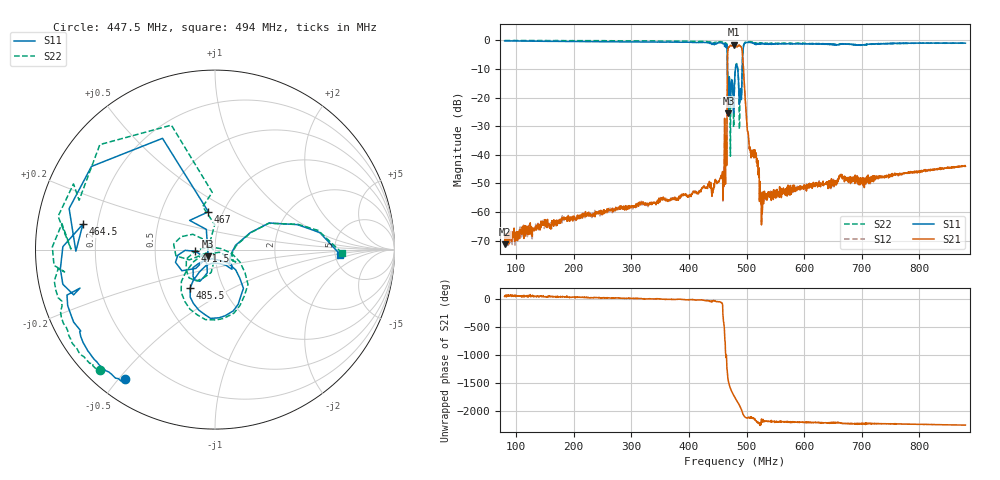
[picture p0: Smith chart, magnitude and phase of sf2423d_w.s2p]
# Hz S RI R 50
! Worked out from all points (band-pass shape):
!   1601 points, 80 MHz to 880 MHz, reference 50 ohm
!   highest |S21| = -1.49 dB at 478 MHz (marker M1); lowest = -71.3 dB at 80 MHz (marker M2)
!   |S21| within 3 dB of the highest: 467.3 MHz to 492.8 MHz (25.55 MHz wide, 5.32 % of centre)
!   lowest |S11| = -25.4 dB at 468.5 MHz (marker M3), VSWR 1.11, Z = 46.2 - j3.49 ohm
!   |S11| at or under -10 dB: 466.8 MHz to 480.8 MHz (13.94 MHz wide, 2.94 % of centre); 484.6 MHz to 492.4 MHz (7.782 MHz wide, 1.59 % of centre)
!   |S22| runs from -40.5 to 0.0 dB; largest |S21 - S12| = 0.0041
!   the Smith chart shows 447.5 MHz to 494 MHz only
!   S11 on the Smith chart (normalised r, x): 447.5 MHz: 0.08, -0.52; 464.5 MHz: 0.14, +0.09; 467 MHz: 0.85, +0.38; 471.5 MHz: 0.80, -0.01; 485.5 MHz: 0.70, -0.32; 494 MHz: 5.58, -0.61
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8e7  0.9258 -0.3294  0.000179 0.000207  0.000228 0.000281  0.9336 -0.3463
2.135e8  0.602 -0.7402  0.000773 0.000495  0.000809 0.000462  0.5831 -0.8018
3.47e8  0.1086 -0.9281  0.0014 0.000156  0.00154 0.000201  0.0211 -0.9774
4.475e8  -0.4997 -0.7232  0.00243 -0.0023  0.00246 -0.00234  -0.6413 -0.6718
4.595e8  -0.7638 -0.4332  0.00178 0.00142  0.00181 0.00142  -0.8532 -0.2869
4.62e8  -0.7522 -0.2145  0.0152 0.0406  0.0152 0.0409  -0.8381 -0.1241
4.645e8  -0.7359 0.1415  0.0122 0.0106  0.0123 0.0108  -0.8742 0.1856
4.67e8  -0.037 0.2105  -0.0557 0.5234  -0.0558 0.5261  -0.0154 0.3188
4.685e8  -0.0379 -0.0377  0.6769 -0.3243  0.6779 -0.3221  -0.0446 -0.0176
4.715e8  -0.1094 -0.00907  -0.5878 -0.5529  -0.5869 -0.553  -0.0589 0.0554
4.745e8  -0.1146 -0.1681  -0.6697 0.4372  -0.6692 0.4378  -0.1447 -0.1577
4.78e8  0.0247 -0.0599  0.1974 0.819  0.1969 0.8195  0.0336 0.00531
4.8e8  0.1584 -0.2156  0.6562 0.501  0.6557 0.5012  0.1837 -0.1939
4.855e8  -0.1383 -0.2133  0.4732 -0.6488  0.4751 -0.6497  -0.1873 -0.1774
4.895e8  0.0941 -0.1093  -0.5578 -0.5694  -0.5559 -0.5722  0.1086 -0.0762
4.94e8  0.6984 -0.028  -0.0999 0.4077  -0.1001 0.4073  0.7062 -0.0175
5.04e8  0.3004 -0.8743  0.0123 0.0119  0.0123 0.012  0.2596 -0.9105
5.18e8  0.00553 -0.8725  0.00772 -0.00362  0.00774 -0.00367  -0.0634 -0.8986
5.265e8  -0.0858 -0.8796  0.001 -0.000713  0.000926 -0.000662  -0.1659 -0.8916
6.135e8  -0.4496 -0.7376  0.00192 -0.00185  0.00198 -0.00193  -0.5409 -0.6878
7.47e8  -0.7023 -0.528  0.00184 -0.00416  0.00183 -0.00418  -0.7624 -0.4246
8.8e8  -0.8721 -0.2047  5.53e-05 -0.00631  0.000123 -0.00638  -0.8881 -0.0675
